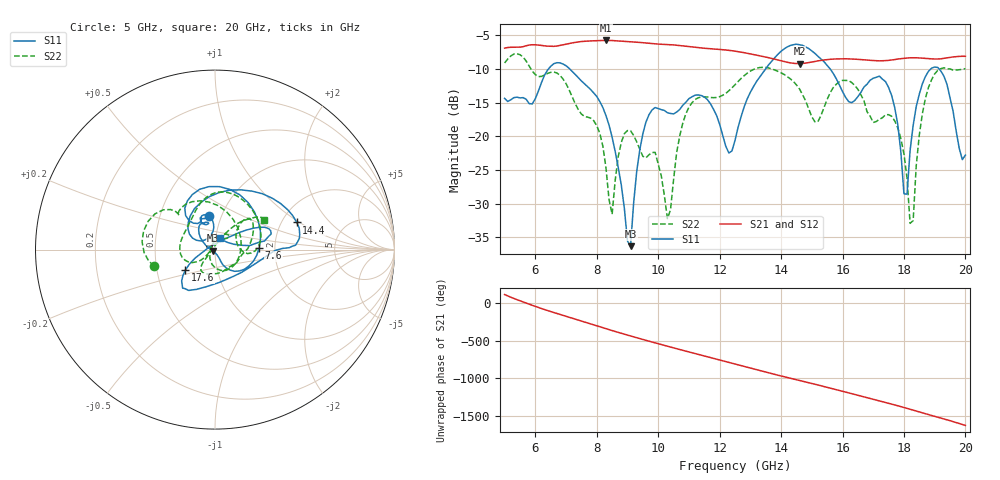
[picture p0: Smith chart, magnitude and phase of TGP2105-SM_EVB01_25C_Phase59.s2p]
! Date: Wednesday, June 05, 2013  1:52 PM
! Filename: C:\Data\Mike_Arnold\TGP2105-SM\Over_Temp\TGP2105-SM_EVB01_25C_Phase59.s2p
! Comments:
!^VDC(V):5.000
!^VDC(mA):0.077
!%Freq(GHz),S11(dB),S11(ang),S21(dB),S21(ang),S12(dB),S12(ang),S22(dB),S22(ang)
# GHz  S  DB  R  50
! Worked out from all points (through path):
!   151 points, 5 GHz to 20 GHz, reference 50 ohm
!   highest |S21| = -5.75 dB at 8.3 GHz (marker M1); lowest = -9.2 dB at 14.6 GHz (marker M2)
!   lowest |S11| = -36.3 dB at 9.1 GHz (marker M3), VSWR 1.03, Z = 48.6 - j0.661 ohm
!   |S11| at or under -10 dB: start of sweep to 6.425 GHz; 7.125 GHz to 13.49 GHz (6.367 GHz wide, 61.8 % of centre); 15.6 GHz to 18.87 GHz (3.269 GHz wide, 19 % of centre)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
!   |S22| runs from -32.9 to -7.7 dB; largest |S21 - S12| = 0.0022
!   S11 on the Smith chart (normalised r, x): 5 GHz: 0.88, +0.34; 7.6 GHz: 1.65, +0.02; 14.4 GHz: 2.41, +0.95; 17.6 GHz: 0.70, -0.17; 20 GHz: 1.05, +0.14
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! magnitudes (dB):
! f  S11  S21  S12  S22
! 5 GHz  -14.3  -6.9  -6.9  -9.1
! 7.5 GHz  -11.8  -5.9  -5.9  -16.7
! 7.6 GHz  -12.2  -5.9  -5.9  -17.0
! 8.3 GHz  -16.9  -5.7  -5.8  -24.7
! 8.5 GHz  -20.1  -5.8  -5.8  -31.6
! 9.1 GHz  -36.3  -5.9  -6.0  -19.1
! 9.5 GHz  -19.6  -6.1  -6.1  -23.0
! 10 GHz  -15.9  -6.3  -6.3  -24.1
! 10.3 GHz  -16.5  -6.4  -6.4  -32.2
! 11 GHz  -14.4  -6.7  -6.7  -15.7
! 12.5 GHz  -20.6  -7.3  -7.4  -12.3
! 14.4 GHz  -6.4  -9.1  -9.2  -11.8
! 14.6 GHz  -6.4  -9.2  -9.2  -12.9
! 15 GHz  -7.3  -9.0  -9.0  -17.1
! 16 GHz  -13.3  -8.5  -8.5  -11.7
! 17.5 GHz  -12.7  -8.7  -8.7  -16.8
! 17.6 GHz  -13.9  -8.6  -8.7  -17.0
! 18 GHz  -28.5  -8.4  -8.4  -22.6
! 18.2 GHz  -22.1  -8.3  -8.4  -32.9
! 18.6 GHz  -12.2  -8.4  -8.4  -16.6
! 19 GHz  -9.7  -8.5  -8.5  -10.7
! 20 GHz  -22.8  -8.1  -8.1  -9.9
